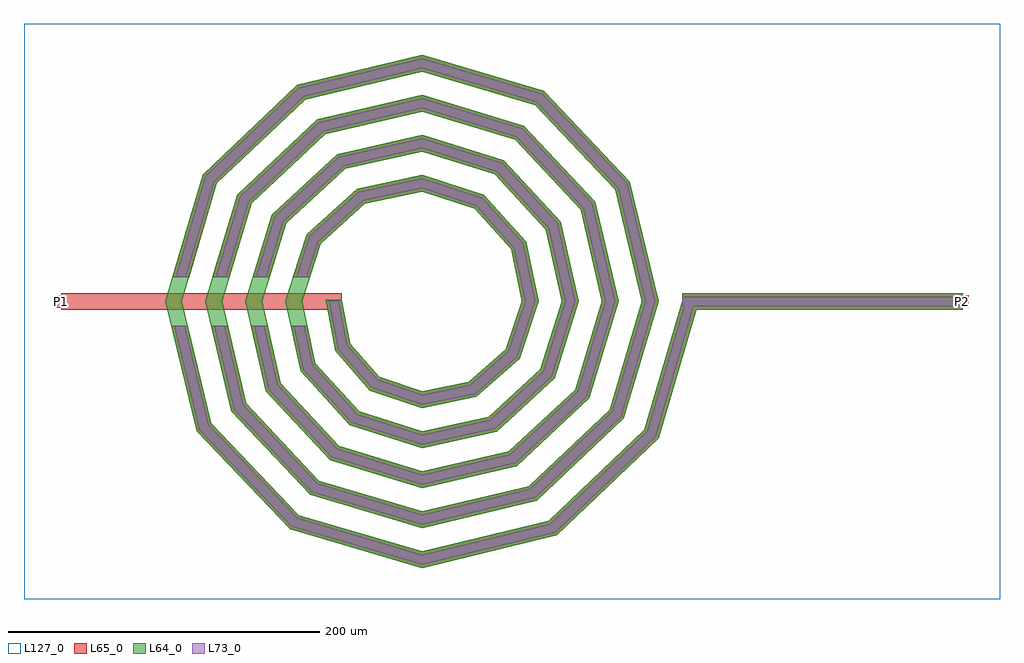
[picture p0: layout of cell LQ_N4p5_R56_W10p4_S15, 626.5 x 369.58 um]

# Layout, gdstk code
import gdstk
lib = gdstk.Library(unit=1e-6, precision=1e-09)
def R(c, l, rs):  # rectangles x0, y0, x1, y1
    for r in rs: c.add(gdstk.rectangle(r[:2], r[2:], *l))
def P(c, l, *ps):  # polygons
    for p in ps: c.add(gdstk.Polygon(p, *l))
L64_0 = (64, 0)
L65_0 = (65, 0)
L73_0 = (73, 0)
L127_0 = (127, 0)

lq_n4p5_r56_w10p4_s15 = lib.new_cell('LQ_N4p5_R56_W10p4_S15')
R(lq_n4p5_r56_w10p4_s15, L64_0, [(167.055,-5.2,347.055,5.2)])
P(lq_n4p5_r56_w10p4_s15, L64_0, [(-46.073,-27.022),(-27.47,-48.285),(0.341,-57.692),(30.201,-51.651),(53.829,-30.71),(64.113,0.309),(57.227,33.387),(33.945,59.377),(0.283,70.535),(-36.576,62.801),(-64.927,37.176),(-76.957,0.261),(-68.373,-39.769),(-40.404,-70.478),(0.242,-83.379),(42.965,-73.944),(76.032,-43.63),(89.801,0.226),(79.514,46.162),(46.854,81.586),(0.212,96.224),(-49.362,85.082),(-87.142,50.077),(-102.646,0.199),(-90.65,-52.562),(-53.298,-92.698),(0.188,-109.069),(55.764,-96.218),(98.255,-56.518),(115.491,0.178),(101.785,58.967),(59.738,103.812),(0.169,121.914),(-62.171,107.352),(-109.37,62.956),(-128.337,0.161),(-112.918,-65.376),(-66.174,-114.929),(0.153,-134.759),(68.581,-118.484),(120.488,-69.392),(141.182,0.147),(124.049,71.787),(72.608,126.047),(0.141,147.605),(-74.993,129.614),(-131.606,75.825),(-154.028,0.135),(-135.179,-78.2),(-79.041,-137.166),(0.13,-160.45),(81.406,-140.744),(142.726,-82.257),(167.265,1.463),(177.245,-1.463),(151.921,-87.858),(86.567,-150.194),(0.13,-171.215),(-84.651,-146.356),(-144.634,-83.351),(-164.792,0.135),(-140.791,81.444),(-80.135,139.075),(0.141,158.369),(78.237,135.226),(133.515,76.918),(151.945,0.147),(129.66,-75.031),(73.701,-127.956),(0.153,-145.522),(-71.826,-124.094),(-122.397,-70.483),(-139.099,0.161),(-118.528,68.621),(-67.265,116.838),(0.169,132.676),(65.416,112.961),(111.28,64.046),(126.253,0.178),(107.394,-62.213),(60.826,-105.722),(0.188,-119.83),(-59.01,-101.826),(-100.165,-57.605),(-113.407,0.199),(-96.257,55.809),(-54.383,94.608),(0.212,106.983),(52.608,90.688),(89.052,51.159),(100.56,0.226),(85.118,-49.409),(47.934,-83.497),(0.242,-94.136),(-46.212,-79.546),(-77.943,-44.707),(-87.713,0.261),(-73.973,43.018),(-41.477,72.39),(0.283,81.289),(39.826,68.398),(66.839,38.243),(74.865,0.309),(62.821,-36.638),(35.006,-61.29),(0.341,-68.44),(-33.455,-57.24),(-55.744,-31.762),(-61.747,0.996),(-51.539,0.996)])
R(lq_n4p5_r56_w10p4_s15, L65_0, [(-231.443,-5.2,-51.443,5.2), (167.055,-5.2,347.055,5.2), (-235.443,-4,-227.443,4), (343.055,-4,351.055,4)])
P(lq_n4p5_r56_w10p4_s15, L65_0, [(-135.179,-78.2),(-79.041,-137.166),(0.13,-160.45),(81.407,-140.744),(142.726,-82.257),(167.265,1.463),(177.245,-1.463),(151.921,-87.858),(86.567,-150.194),(0.13,-171.215),(-84.651,-146.356),(-144.634,-83.351),(-160.993,-15.6),(-150.294,-15.6)],
  [(-112.918,-65.376),(-66.174,-114.929),(0.153,-134.759),(68.581,-118.484),(120.488,-69.392),(141.182,0.147),(124.049,71.787),(72.609,126.047),(0.141,147.605),(-74.993,129.614),(-131.606,75.825),(-149.383,15.6),(-160.227,15.6),(-140.791,81.444),(-80.135,139.075),(0.141,158.369),(78.237,135.226),(133.515,76.918),(151.946,0.147),(129.66,-75.031),(73.701,-127.956),(0.153,-145.522),(-71.826,-124.094),(-122.397,-70.483),(-135.373,-15.6),(-124.686,-15.6)],
  [(-90.651,-52.562),(-53.298,-92.698),(0.188,-109.069),(55.764,-96.218),(98.255,-56.518),(115.491,0.178),(101.785,58.967),(59.738,103.812),(0.169,121.914),(-62.171,107.352),(-109.37,62.956),(-123.601,15.6),(-134.46,15.6),(-118.528,68.621),(-67.265,116.838),(0.169,132.676),(65.416,112.961),(111.28,64.046),(126.253,0.178),(107.394,-62.213),(60.826,-105.722),(0.188,-119.83),(-59.01,-101.826),(-100.165,-57.605),(-109.787,-15.6),(-99.118,-15.6)],
  [(-68.373,-39.769),(-40.404,-70.478),(0.242,-83.379),(42.965,-73.944),(76.032,-43.63),(89.801,0.226),(79.514,46.162),(46.854,81.586),(0.212,96.224),(-49.362,85.082),(-87.142,50.077),(-97.774,15.6),(-108.657,15.6),(-96.257,55.809),(-54.383,94.608),(0.212,106.983),(52.608,90.688),(89.052,51.159),(100.56,0.226),(85.118,-49.409),(47.934,-83.497),(0.242,-94.136),(-46.212,-79.546),(-77.943,-44.707),(-84.267,-15.6),(-73.624,-15.6)],
  [(-27.47,-48.285),(0.341,-57.692),(30.201,-51.651),(53.829,-30.71),(64.113,0.309),(57.227,33.387),(33.945,59.377),(0.283,70.535),(-36.576,62.801),(-64.927,37.176),(-71.86,15.6),(-82.784,15.6),(-73.973,43.018),(-41.477,72.39),(0.283,81.289),(39.826,68.398),(66.839,38.243),(74.865,0.309),(62.821,-36.638),(35.006,-61.29),(0.341,-68.44),(-33.455,-57.24),(-55.744,-31.762),(-61.747,0.996),(-51.539,0.996),(-46.073,-27.022)])
R(lq_n4p5_r56_w10p4_s15, L73_0, [(167.055,-3.2,347.055,3.2)])
P(lq_n4p5_r56_w10p4_s15, L73_0, [(-136.998,-79.19),(-80.12,-138.933),(0.08,-162.52),(82.399,-142.562),(144.494,-83.334),(169.185,0.9),(175.326,0.9),(150.153,-86.781),(85.575,-148.377),(0.08,-169.145),(-83.572,-144.589),(-142.816,-82.36),(-158.935,-15.6),(-152.351,-15.6)],
  [(-114.741,-66.358),(-67.261,-116.691),(0.094,-136.829),(69.566,-120.305),(122.252,-70.476),(143.252,0.09),(125.869,72.774),(73.691,127.812),(0.087,149.675),(-75.982,131.434),(-133.372,76.905),(-151.468,15.6),(-158.141,15.6),(-139.025,80.363),(-79.146,137.255),(0.087,156.299),(77.155,133.461),(131.695,75.931),(149.876,0.09),(127.896,-73.947),(72.716,-126.134),(0.094,-143.453),(-70.739,-122.332),(-120.574,-69.501),(-133.318,-15.6),(-126.741,-15.6)],
  [(-92.48,-53.532),(-54.397,-94.453),(0.116,-111.138),(56.738,-98.046),(100.012,-57.613),(117.561,0.11),(103.611,59.944),(60.83,105.572),(0.104,123.984),(-63.151,109.176),(-111.131,64.046),(-125.689,15.6),(-132.372,15.6),(-116.767,67.531),(-66.285,115.014),(0.104,130.607),(64.324,111.202),(109.454,63.069),(124.183,0.11),(105.636,-61.118),(59.852,-103.894),(0.116,-117.76),(-57.912,-100.07),(-98.335,-56.635),(-107.736,-15.6),(-101.17,-15.6)],
  [(-70.213,-40.719),(-41.521,-72.222),(0.149,-85.448),(43.92,-75.781),(77.779,-44.742),(91.87,0.139),(81.348,47.123),(47.961,83.336),(0.13,98.293),(-50.327,86.914),(-88.895,51.179),(-99.867,15.6),(-106.564,15.6),(-94.504,54.706),(-53.417,92.776),(0.13,104.914),(51.502,88.938),(87.218,50.198),(98.491,0.139),(83.37,-48.298),(46.978,-81.66),(0.149,-92.068),(-45.096,-77.802),(-76.103,-43.757),(-82.22,-15.6),(-75.671,-15.6)],
  [(-28.621,-50.007),(0.21,-59.759),(31.125,-53.505),(55.558,-31.85),(66.181,0.19),(59.076,34.321),(35.076,61.112),(0.174,72.603),(-37.519,64.645),(-66.666,38.299),(-73.961,15.6),(-80.683,15.6),(-72.233,41.894),(-40.534,70.546),(0.174,79.221),(38.695,66.663),(64.991,37.309),(72.797,0.19),(61.092,-35.498),(34.082,-59.437),(0.21,-66.373),(-32.304,-55.518),(-53.884,-30.851),(-59.784,0.613),(-53.502,0.613),(-47.933,-27.934)])
R(lq_n4p5_r56_w10p4_s15, L127_0, [(-255.443,-191.215,371.055,178.369)])
lq_n4p5_r56_w10p4_s15.add(gdstk.Label('P2', (347.055,0), layer=65, texttype=0))
lq_n4p5_r56_w10p4_s15.add(gdstk.Label('P1', (-231.443,0), layer=65, texttype=0))
lq_n4p5_r56_w10p4_s15.add(gdstk.Label('P2', (351.055,0), layer=145, texttype=0))
lq_n4p5_r56_w10p4_s15.add(gdstk.Label('P1', (-235.443,0), layer=145, texttype=0))

lib.write_gds('LQ_N4p5_R56_W10p4_S15.gds')
